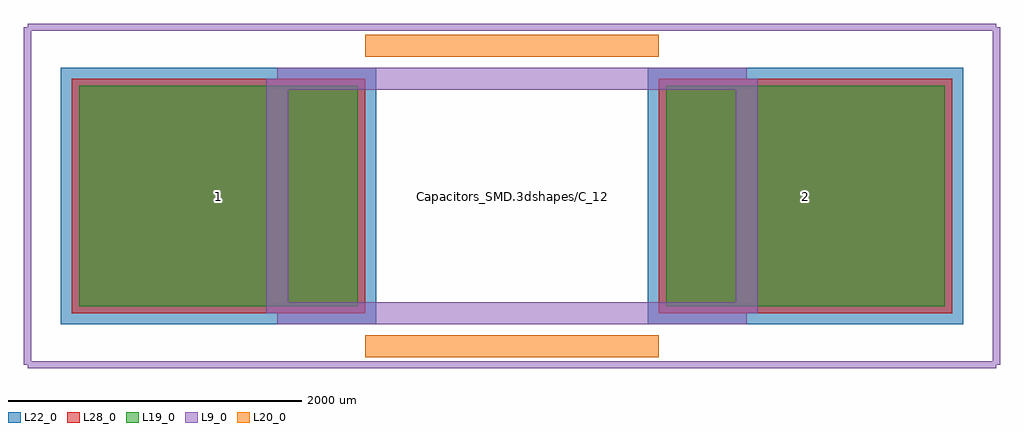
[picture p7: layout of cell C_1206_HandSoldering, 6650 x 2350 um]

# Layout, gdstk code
import gdstk
lib = gdstk.Library(unit=1e-6, precision=1e-09)
def R(c, l, rs):  # rectangles x0, y0, x1, y1
    for r in rs: c.add(gdstk.rectangle(r[:2], r[2:], *l))
L9_0 = (9, 0)
L19_0 = (19, 0)
L20_0 = (20, 0)
L22_0 = (22, 0)
L28_0 = (28, 0)

c_1206_handsoldering = lib.new_cell('C_1206_HandSoldering')
R(c_1206_handsoldering, L19_0, [(-2950,-750,-1050,750), (1050,-750,2950,750)])
R(c_1206_handsoldering, L22_0, [(-3075,-875,-925,875), (925,-875,3075,875)])
R(c_1206_handsoldering, L28_0, [(-3000,-800,-1000,800), (1000,-800,3000,800)])
c_1206_handsoldering.add(gdstk.FlexPath([(-1000,-1025),(1000,-1025)], 149.998, ends="flush", simple_path=True, layer=20, datatype=0))  # L20_0
c_1206_handsoldering.add(gdstk.FlexPath([(1000,1025),(-1000,1025)], 149.998, ends="flush", simple_path=True, layer=20, datatype=0))  # L20_0
c_1206_handsoldering.add(gdstk.FlexPath([(3300,1150),(3300,-1150)], 50, ends="flush", simple_path=True, layer=9, datatype=0))  # L9_0
c_1206_handsoldering.add(gdstk.FlexPath([(-3300,1150),(-3300,-1150)], 50, ends="flush", simple_path=True, layer=9, datatype=0))  # L9_0
c_1206_handsoldering.add(gdstk.FlexPath([(-3300,-1150),(3300,-1150)], 50, ends="flush", simple_path=True, layer=9, datatype=0))  # L9_0
c_1206_handsoldering.add(gdstk.FlexPath([(-3300,1150),(3300,1150)], 50, ends="flush", simple_path=True, layer=9, datatype=0))  # L9_0
c_1206_handsoldering.add(gdstk.FlexPath([(-1600,800),(1600,800)], 149.998, ends="flush", simple_path=True, layer=9, datatype=0))  # L9_0
c_1206_handsoldering.add(gdstk.FlexPath([(1600,800),(1600,-800)], 149.998, ends="flush", simple_path=True, layer=9, datatype=0))  # L9_0
c_1206_handsoldering.add(gdstk.FlexPath([(1600,-800),(-1600,-800)], 149.998, ends="flush", simple_path=True, layer=9, datatype=0))  # L9_0
c_1206_handsoldering.add(gdstk.FlexPath([(-1600,-800),(-1600,800)], 149.998, ends="flush", simple_path=True, layer=9, datatype=0))  # L9_0
c_1206_handsoldering.add(gdstk.Label('Capacitors_SMD.3dshapes/C_1206_HandSoldering.wrl', (0,0), layer=12, texttype=0))
c_1206_handsoldering.add(gdstk.Label('2', (2000,0), layer=28, texttype=0))
c_1206_handsoldering.add(gdstk.Label('1', (-2000,0), layer=28, texttype=0))
c_1206_handsoldering.add(gdstk.Label('type', (0,-2300), layer=9, texttype=0))
c_1206_handsoldering.add(gdstk.Label('devicename', (0,2300), layer=9, texttype=0))

lib.write_gds('C_1206_HandSoldering.gds')
